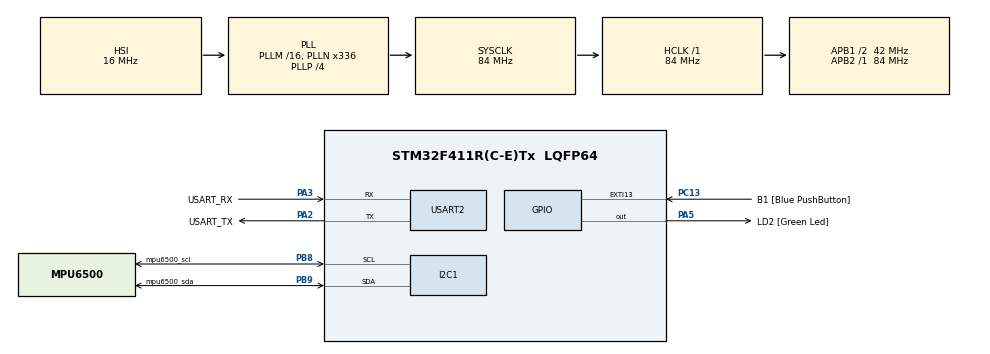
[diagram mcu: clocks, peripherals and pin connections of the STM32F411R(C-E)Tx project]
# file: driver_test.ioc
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I2C1.I2C_Mode=I2C_Fast
Mcu.Family=STM32F4
Mcu.Name=STM32F411R(C-E)Tx
Mcu.Package=LQFP64
NVIC.I2C1_ER_IRQn=true\:0\:0\:false\:false\:true\:true\:true\:true
NVIC.I2C1_EV_IRQn=true\:0\:0\:false\:false\:true\:true\:true\:true
NVIC.PriorityGroup=NVIC_PRIORITYGROUP_0
NVIC.TIM1_TRG_COM_TIM11_IRQn=true\:0\:0\:false\:false\:true\:true\:true\:true
PA13.GPIO_Label=TMS
PA13.Mode=Serial_Wire
PA13.Signal=SYS_JTMS-SWDIO
PA14.GPIO_Label=TCK
PA14.Mode=Serial_Wire
PA14.Signal=SYS_JTCK-SWCLK
PA2.GPIO_Label=USART_TX
PA2.Mode=Asynchronous
PA2.Signal=USART2_TX
PA3.GPIO_Label=USART_RX
PA3.Mode=Asynchronous
PA3.Signal=USART2_RX
PA5.GPIO_Label=LD2 [Green Led]
PA5.Signal=GPIO_Output
PB3.GPIO_Label=SWO
PB3.Signal=SYS_JTDO-SWO
PB8.GPIO_Label=mpu6500_scl
PB8.Mode=I2C
PB8.Signal=I2C1_SCL
PB9.GPIO_Label=mpu6500_sda
PB9.Mode=I2C
PB9.Signal=I2C1_SDA
PC13-ANTI_TAMP.GPIO_Label=B1 [Blue PushButton]
PC13-ANTI_TAMP.GPIO_ModeDefaultEXTI=GPIO_MODE_IT_FALLING
PC13-ANTI_TAMP.Signal=GPXTI13
PC14-OSC32_IN.Mode=LSE-External-Oscillator
PC14-OSC32_IN.Signal=RCC_OSC32_IN
PC15-OSC32_OUT.Mode=LSE-External-Oscillator
PC15-OSC32_OUT.Signal=RCC_OSC32_OUT
PH0\ -\ OSC_IN.Mode=HSE-External-Clock-Source
PH0\ -\ OSC_IN.Signal=RCC_OSC_IN
PH1\ -\ OSC_OUT.Mode=HSE-External-Clock-Source
PH1\ -\ OSC_OUT.Signal=RCC_OSC_OUT
ProjectManager.HeapSize=0x200
ProjectManager.StackSize=0x400
ProjectManager.TargetToolchain=STM32CubeIDE
RCC.48MHZClocksFreq_Value=84000000
RCC.AHBFreq_Value=84000000
RCC.APB1CLKDivider=RCC_HCLK_DIV2
RCC.APB1Freq_Value=42000000
RCC.APB1TimFreq_Value=84000000
RCC.APB2Freq_Value=84000000
RCC.APB2TimFreq_Value=84000000
RCC.CortexFreq_Value=84000000
RCC.FLatency-AdvancedSettings=FLASH_LATENCY_2
RCC.HCLKFreq_Value=84000000
RCC.HSE_VALUE=8000000
RCC.HSI_VALUE=16000000
RCC.PLLN=336
RCC.PLLP=RCC_PLLP_DIV4
RCC.SYSCLKFreq_VALUE=84000000
RCC.SYSCLKSource=RCC_SYSCLKSOURCE_PLLCLK
RCC.VCOOutputFreq_Value=336000000
TIM11.Period=999
TIM11.Prescaler=83
USART2.VirtualMode=VM_ASYNC
VP_TIM11_VS_ClockSourceINT.Mode=Enable_Timer
board=NUCLEO-F411RE

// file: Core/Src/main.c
/* USER CODE BEGIN Header */
/**
  ******************************************************************************
  * @file           : main.c
  * @brief          : Main program body
  ******************************************************************************
  * @attention
  *
  * Copyright (c) 2026 STMicroelectronics.
  * All rights reserved.
  *
  * This software is licensed under terms that can be found in the LICENSE file
  * in the root directory of this software component.
  * If no LICENSE file comes with this software, it is provided AS-IS.
  *
  ******************************************************************************
  */
/* USER CODE END Header */
#include "main.h"

/* USER CODE BEGIN Includes */
#include <stdlib.h>
#include <stdio.h>
#include <string.h>

#include "driver_bmp280.h"
#include "driver_mpu6500.h"
#include "driver_vl53l0x.h"
/* USER CODE END Includes */

/* USER CODE BEGIN PD */
#define CALIB_MPU6500 1000
#define CALIB_BMP280 100
/* USER CODE END PD */

TIM_HandleTypeDef htim11;
I2C_HandleTypeDef hi2c1;
UART_HandleTypeDef huart2;

/* USER CODE BEGIN PV */
volatile static uint8_t time_flag_1ms;
volatile static uint8_t time_flag_10ms;
volatile static uint8_t time_flag_100ms;

volatile static uint8_t mpu6500_data_received;
volatile static uint8_t bmp280_data_received;

/* USER CODE END PV */

void SystemClock_Config(void);
static void MX_GPIO_Init(void);
static void MX_I2C1_Init(void);
static void MX_USART2_UART_Init(void);
static void MX_TIM11_Init(void);

int main(void)
{

  /* MCU Configuration--------------------------------------------------------*/

  /* Reset of all peripherals, Initializes the Flash interface and the Systick. */
  HAL_Init();

  /* Configure the system clock */
  SystemClock_Config();

  /* Initialize all configured peripherals */
  MX_GPIO_Init();
  MX_I2C1_Init();
  MX_USART2_UART_Init();
  MX_TIM11_Init();
  /* USER CODE BEGIN 2 */

  vl53l0x_init();
  vl53l0x_start();

  HAL_TIM_Base_Start_IT(&htim11);
  /* USER CODE END 2 */

  /* Infinite loop */
  /* USER CODE BEGIN WHILE */
  VL53L0X_RangingMeasurementData_t rangingData;

  while (1)
  {
	  char buf[100];
	  uint8_t dataReady = 0;
	  vl53l0x_ready(&dataReady);

	  if (dataReady)
	  {
		  vl53l0x_range(&rangingData);

		  sprintf(buf, "%d mm (status=%d)\r\n",
				  rangingData.RangeMilliMeter,
				  rangingData.RangeStatus);
		  HAL_UART_Transmit(&huart2, (uint8_t*)buf, strlen(buf), 100);

	  }
	  HAL_Delay(100);

    /* USER CODE END WHILE */

  }
}

void SystemClock_Config(void)
{
  RCC_OscInitTypeDef RCC_OscInitStruct = {0};
  RCC_ClkInitTypeDef RCC_ClkInitStruct = {0};

  /** Configure the main internal regulator output voltage
  */
  __HAL_RCC_PWR_CLK_ENABLE();
  __HAL_PWR_VOLTAGESCALING_CONFIG(PWR_REGULATOR_VOLTAGE_SCALE1);

  /** Initializes the RCC Oscillators according to the specified parameters
  * in the RCC_OscInitTypeDef structure.
  */
  RCC_OscInitStruct.OscillatorType = RCC_OSCILLATORTYPE_HSI;
  RCC_OscInitStruct.HSIState = RCC_HSI_ON;
  RCC_OscInitStruct.HSICalibrationValue = RCC_HSICALIBRATION_DEFAULT;
  RCC_OscInitStruct.PLL.PLLState = RCC_PLL_ON;
  RCC_OscInitStruct.PLL.PLLSource = RCC_PLLSOURCE_HSI;
  RCC_OscInitStruct.PLL.PLLM = 16;
  RCC_OscInitStruct.PLL.PLLN = 336;
  RCC_OscInitStruct.PLL.PLLP = RCC_PLLP_DIV4;
  RCC_OscInitStruct.PLL.PLLQ = 4;
  if (HAL_RCC_OscConfig(&RCC_OscInitStruct) != HAL_OK)
  {
    Error_Handler();
  }

  /** Initializes the CPU, AHB and APB buses clocks
  */
  RCC_ClkInitStruct.ClockType = RCC_CLOCKTYPE_HCLK|RCC_CLOCKTYPE_SYSCLK
                              |RCC_CLOCKTYPE_PCLK1|RCC_CLOCKTYPE_PCLK2;
  RCC_ClkInitStruct.SYSCLKSource = RCC_SYSCLKSOURCE_PLLCLK;
  RCC_ClkInitStruct.AHBCLKDivider = RCC_SYSCLK_DIV1;
  RCC_ClkInitStruct.APB1CLKDivider = RCC_HCLK_DIV2;
  RCC_ClkInitStruct.APB2CLKDivider = RCC_HCLK_DIV1;

  if (HAL_RCC_ClockConfig(&RCC_ClkInitStruct, FLASH_LATENCY_2) != HAL_OK)
  {
    Error_Handler();
  }
}

static void MX_I2C1_Init(void)
{

  hi2c1.Instance = I2C1;
  hi2c1.Init.ClockSpeed = 400000;
  hi2c1.Init.DutyCycle = I2C_DUTYCYCLE_2;
  hi2c1.Init.OwnAddress1 = 0;
  hi2c1.Init.AddressingMode = I2C_ADDRESSINGMODE_7BIT;
  hi2c1.Init.DualAddressMode = I2C_DUALADDRESS_DISABLE;
  hi2c1.Init.OwnAddress2 = 0;
  hi2c1.Init.GeneralCallMode = I2C_GENERALCALL_DISABLE;
  hi2c1.Init.NoStretchMode = I2C_NOSTRETCH_DISABLE;
  if (HAL_I2C_Init(&hi2c1) != HAL_OK)
  {
    Error_Handler();
  }

}

static void MX_TIM11_Init(void)
{

  htim11.Instance = TIM11;
  htim11.Init.Prescaler = 83;
  htim11.Init.CounterMode = TIM_COUNTERMODE_UP;
  htim11.Init.Period = 999;
  htim11.Init.ClockDivision = TIM_CLOCKDIVISION_DIV1;
  htim11.Init.AutoReloadPreload = TIM_AUTORELOAD_PRELOAD_DISABLE;
  if (HAL_TIM_Base_Init(&htim11) != HAL_OK)
  {
    Error_Handler();
  }

}

static void MX_USART2_UART_Init(void)
{

  huart2.Instance = USART2;
  huart2.Init.BaudRate = 115200;
  huart2.Init.WordLength = UART_WORDLENGTH_8B;
  huart2.Init.StopBits = UART_STOPBITS_1;
  huart2.Init.Parity = UART_PARITY_NONE;
  huart2.Init.Mode = UART_MODE_TX_RX;
  huart2.Init.HwFlowCtl = UART_HWCONTROL_NONE;
  huart2.Init.OverSampling = UART_OVERSAMPLING_16;
  if (HAL_UART_Init(&huart2) != HAL_OK)
  {
    Error_Handler();
  }

}

static void MX_GPIO_Init(void)
{
  GPIO_InitTypeDef GPIO_InitStruct = {0};

  /* GPIO Ports Clock Enable */
  __HAL_RCC_GPIOC_CLK_ENABLE();
  __HAL_RCC_GPIOH_CLK_ENABLE();
  __HAL_RCC_GPIOA_CLK_ENABLE();
  __HAL_RCC_GPIOB_CLK_ENABLE();

  /*Configure GPIO pin Output Level */
  HAL_GPIO_WritePin(LD2_GPIO_Port, LD2_Pin, GPIO_PIN_RESET);

  /*Configure GPIO pin : B1_Pin */
  GPIO_InitStruct.Pin = B1_Pin;
  GPIO_InitStruct.Mode = GPIO_MODE_IT_FALLING;
  GPIO_InitStruct.Pull = GPIO_NOPULL;
  HAL_GPIO_Init(B1_GPIO_Port, &GPIO_InitStruct);

  /*Configure GPIO pin : LD2_Pin */
  GPIO_InitStruct.Pin = LD2_Pin;
  GPIO_InitStruct.Mode = GPIO_MODE_OUTPUT_PP;
  GPIO_InitStruct.Pull = GPIO_NOPULL;
  GPIO_InitStruct.Speed = GPIO_SPEED_FREQ_LOW;
  HAL_GPIO_Init(LD2_GPIO_Port, &GPIO_InitStruct);

}

/* USER CODE BEGIN 4 */
void HAL_TIM_PeriodElapsedCallback(TIM_HandleTypeDef *htim)
{
	static uint8_t time_cnt_1ms = 0;
	static uint8_t time_cnt_10ms = 0;

	time_cnt_1ms++;
	time_flag_1ms = 1;
	if(time_cnt_1ms >= 10)
	{
		time_flag_10ms = 1;
		time_cnt_10ms++;
		time_cnt_1ms = 0;
	}
	if(time_cnt_10ms >= 10)
	{
		time_flag_100ms = 1;
		time_cnt_10ms = 0;
	}

}

void HAL_I2C_MemRxCpltCallback(I2C_HandleTypeDef *hi2c)
{
	bmp280_data_received = 1;

}

/* USER CODE END 4 */

void Error_Handler(void)
{
  __disable_irq();
  while (1)
  {
  }
}
